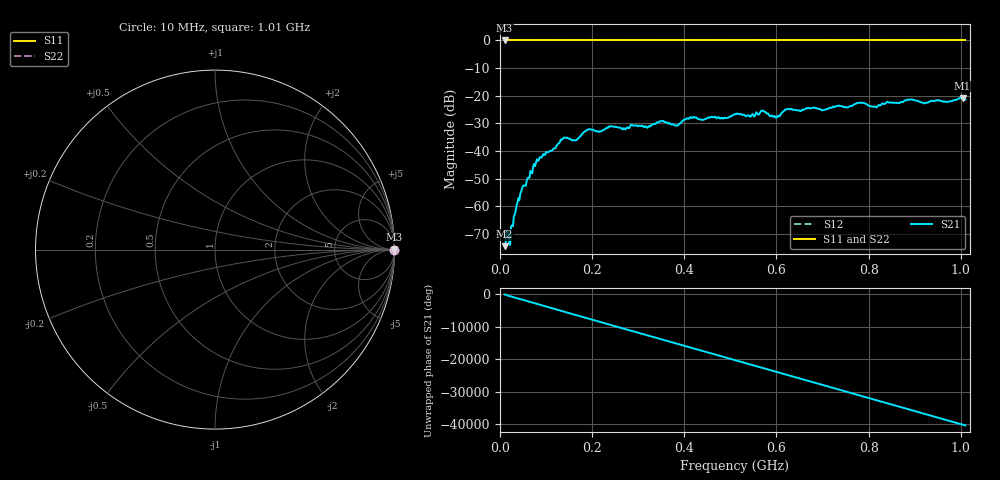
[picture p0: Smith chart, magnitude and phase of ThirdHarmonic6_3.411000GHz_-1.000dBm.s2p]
! 8/17/2025 10:55:19 AM
! C:\ANRITSUVNA\TEMP\TEMP.S2P
! CHANNEL.1
! TR.MEASUREMENT
! RAW.DATA
! RF.CORRECTION.OFF
! AVERAGING.OFF
! IF.BANDWIDTH: 5KHZ
! SWEEPTYPE:  FREQ.SWEEP(Linear)
! Reference Plane Port Info
! PORT:  PORT1  PORT2
! DISTANCE:  0  m  0  m
! TIME:  0  s  0  s
! PHASE.OFFSET:  0  deg.  0  deg.
! LOSS:  0  dB  0  dB
! REF.LOSS:  0  dB  0  dB
! REF.FREQ:  0  Hz  0  Hz
! Power Info
! POWER:  -20  dBm  -20  dBm
! EFF.POWER:  -20  dBm  -20  dBm
! SOURCE.ATTEN:  0  dB  0  dB
! TEST.ATTEN:  0  dB  0  dB
# GHZ S RI R 50.0
! FREQ.GHZ  S11RE  S11IM  S21RE  S21IM  S12RE  S12IM  S22RE  S22IM
!; PortSelection: Port_12
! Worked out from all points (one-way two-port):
!   501 points, 10 MHz to 1.01 GHz, reference 50 ohm
!   highest |S21| = -20.77 dB at 1.004 GHz (marker M1); lowest = -74.5 dB at 10 MHz (marker M2)
!   lowest |S11| = 0.0 dB at 10 MHz (marker M3)
!   |S11| at or under -10 dB: nowhere
!   |S22| runs from 0.0 to 0.0 dB; largest |S21 - S12| = 1.1
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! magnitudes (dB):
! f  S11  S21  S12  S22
! 10 MHz  0.0  -74.5  0.0  0.0
! 24 MHz  0.0  -67.5  0.0  0.0
! 36 MHz  0.0  -59.7  0.0  0.0
! 48 MHz  0.0  -53.5  0.0  0.0
! 76 MHz  0.0  -45.5  0.0  0.0
! 136 MHz  0.0  -35.6  0.0  0.0
! 164 MHz  0.0  -36.1  0.0  0.0
! 178 MHz  0.0  -33.9  0.0  0.0
! 194 MHz  0.0  -32.2  0.0  0.0
! 322 MHz  0.0  -31.3  0.0  0.0
! 344 MHz  0.0  -29.6  0.0  0.0
! 382 MHz  0.0  -30.7  0.0  0.0
! 416 MHz  0.0  -28.1  0.0  0.0
! 510 MHz  0.0  -26.7  0.0  0.0
! 570 MHz  0.0  -25.4  0.0  0.0
! 602 MHz  0.0  -27.5  0.0  0.0
! 622 MHz  0.0  -25.0  0.0  0.0
! 678 MHz  0.0  -24.4  0.0  0.0
! 814 MHz  0.0  -23.9  0.0  0.0
! 844 MHz  0.0  -22.5  0.0  0.0
! 1.004 GHz  0.0  -20.8  0.0  0.0
! 1.01 GHz  0.0  -21.4  0.0  0.0
